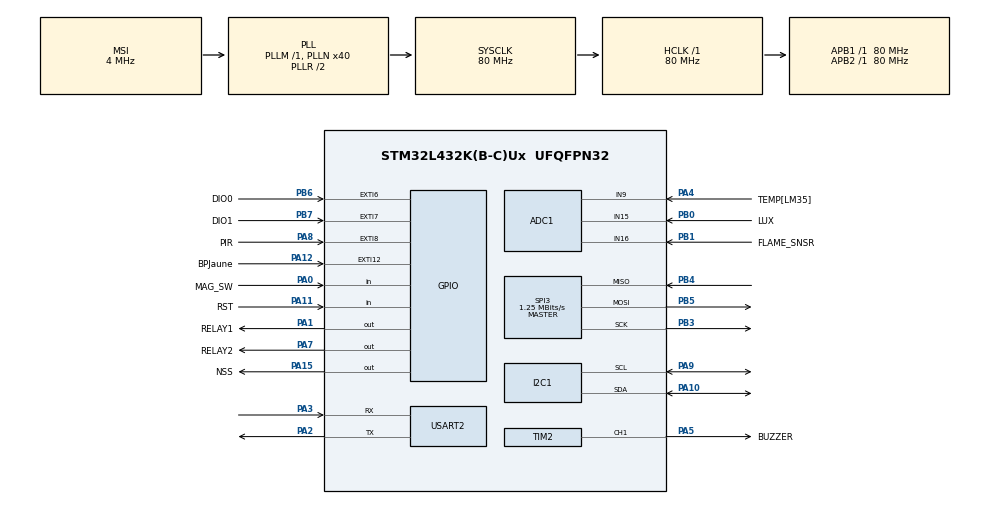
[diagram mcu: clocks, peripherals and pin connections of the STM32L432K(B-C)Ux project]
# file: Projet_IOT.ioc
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ADC1.Channel-1\#ChannelRegularConversion=ADC_CHANNEL_9
ADC1.Channel-2\#ChannelRegularConversion=ADC_CHANNEL_15
ADC1.Channel-3\#ChannelRegularConversion=ADC_CHANNEL_16
ADC1.ContinuousConvMode=ENABLE
ADC1.DMAContinuousRequests=ENABLE
ADC1.ExternalTrigConv=ADC_EXTERNALTRIG_T15_TRGO
ADC1.NbrOfConversion=3
ADC1.NbrOfConversionFlag=1
ADC1.OffsetNumber-1\#ChannelRegularConversion=ADC_OFFSET_NONE
ADC1.OffsetNumber-2\#ChannelRegularConversion=ADC_OFFSET_NONE
ADC1.OffsetNumber-3\#ChannelRegularConversion=ADC_OFFSET_NONE
ADC1.Rank-1\#ChannelRegularConversion=1
ADC1.Rank-2\#ChannelRegularConversion=2
ADC1.Rank-3\#ChannelRegularConversion=3
ADC1.SamplingTime-1\#ChannelRegularConversion=ADC_SAMPLETIME_640CYCLES_5
ADC1.SamplingTime-2\#ChannelRegularConversion=ADC_SAMPLETIME_640CYCLES_5
ADC1.SamplingTime-3\#ChannelRegularConversion=ADC_SAMPLETIME_640CYCLES_5
ADC1.master=1
Dma.ADC1.1.Direction=DMA_PERIPH_TO_MEMORY
Dma.ADC1.1.Instance=DMA1_Channel1
Dma.ADC1.1.MemDataAlignment=DMA_MDATAALIGN_HALFWORD
Dma.ADC1.1.MemInc=DMA_MINC_ENABLE
Dma.ADC1.1.Mode=DMA_CIRCULAR
Dma.ADC1.1.PeriphDataAlignment=DMA_PDATAALIGN_HALFWORD
Dma.ADC1.1.PeriphInc=DMA_PINC_DISABLE
Dma.ADC1.1.Priority=DMA_PRIORITY_LOW
Dma.Request0=TIM6_UP
Dma.Request1=ADC1
Dma.TIM6_UP.0.Direction=DMA_MEMORY_TO_PERIPH
Dma.TIM6_UP.0.Instance=DMA1_Channel3
Dma.TIM6_UP.0.MemDataAlignment=DMA_MDATAALIGN_WORD
Dma.TIM6_UP.0.MemInc=DMA_MINC_ENABLE
Dma.TIM6_UP.0.Mode=DMA_CIRCULAR
Dma.TIM6_UP.0.PeriphDataAlignment=DMA_PDATAALIGN_WORD
Dma.TIM6_UP.0.PeriphInc=DMA_PINC_DISABLE
Dma.TIM6_UP.0.Priority=DMA_PRIORITY_LOW
I2C1.Timing=0x10D19CE4
Mcu.Family=STM32L4
Mcu.Name=STM32L432K(B-C)Ux
Mcu.Package=UFQFPN32
NVIC.DMA1_Channel1_IRQn=true\:0\:0\:false\:false\:true\:false\:true\:true
NVIC.DMA1_Channel3_IRQn=true\:0\:0\:false\:false\:true\:false\:true\:true
NVIC.EXTI15_10_IRQn=true\:0\:0\:false\:false\:true\:true\:true\:true
NVIC.EXTI9_5_IRQn=true\:0\:0\:false\:false\:true\:true\:true\:true
NVIC.PriorityGroup=NVIC_PRIORITYGROUP_4
NVIC.TIM1_UP_TIM16_IRQn=true\:0\:0\:false\:false\:true\:true\:true\:true
PA0.GPIO_Label=MAG_SW
PA0.Signal=GPIO_Input
PA1.GPIO_Label=RELAY1
PA1.Signal=GPIO_Output
PA10.Mode=I2C
PA10.Signal=I2C1_SDA
PA11.GPIO_Label=RST
PA11.Signal=GPIO_Input
PA12.GPIO_Label=BPJaune
PA12.GPIO_ModeDefaultEXTI=GPIO_MODE_IT_RISING_FALLING
PA12.Signal=GPXTI12
PA13\ (JTMS-SWDIO).Mode=Serial_Wire
PA13\ (JTMS-SWDIO).Signal=SYS_JTMS-SWDIO
PA14\ (JTCK-SWCLK).Mode=Serial_Wire
PA14\ (JTCK-SWCLK).Signal=SYS_JTCK-SWCLK
PA15\ (JTDI).GPIO_Label=NSS
PA15\ (JTDI).PinState=GPIO_PIN_SET
PA15\ (JTDI).Signal=GPIO_Output
PA2.Mode=Asynchronous
PA2.Signal=USART2_TX
PA3.Mode=Asynchronous
PA3.Signal=USART2_RX
PA4.GPIO_Label=TEMP[LM35]
PA4.Signal=ADCx_IN9
PA5.GPIO_Label=BUZZER
PA5.Signal=S_TIM2_CH1
PA7.GPIO_Label=RELAY2
PA7.Signal=GPIO_Output
PA8.GPIO_Label=PIR
PA8.GPIO_ModeDefaultEXTI=GPIO_MODE_IT_RISING_FALLING
PA8.Signal=GPXTI8
PA9.Mode=I2C
PA9.Signal=I2C1_SCL
PB0.GPIO_Label=LUX
PB0.Signal=ADCx_IN15
PB1.GPIO_Label=FLAME_SNSR
PB1.Signal=ADCx_IN16
PB3\ (JTDO-TRACESWO).Mode=Full_Duplex_Master
PB3\ (JTDO-TRACESWO).Signal=SPI3_SCK
PB4\ (NJTRST).Mode=Full_Duplex_Master
PB4\ (NJTRST).Signal=SPI3_MISO
PB5.Mode=Full_Duplex_Master
PB5.Signal=SPI3_MOSI
PB6.GPIO_Label=DIO0
PB6.Signal=GPXTI6
PB7.GPIO_Label=DIO1
PB7.Signal=GPXTI7
PC14-OSC32_IN\ (PC14).Mode=LSE-External-Oscillator
PC14-OSC32_IN\ (PC14).Signal=RCC_OSC32_IN
PC15-OSC32_OUT\ (PC15).Mode=LSE-External-Oscillator
PC15-OSC32_OUT\ (PC15).Signal=RCC_OSC32_OUT
ProjectManager.HeapSize=0x200
ProjectManager.StackSize=0x400
ProjectManager.TargetToolchain=STM32CubeIDE
RCC.ADCFreq_Value=16000000
RCC.AHBFreq_Value=80000000
RCC.APB1Freq_Value=80000000
RCC.APB1TimFreq_Value=80000000
RCC.APB2Freq_Value=80000000
RCC.APB2TimFreq_Value=80000000
RCC.CortexFreq_Value=80000000
RCC.HCLKFreq_Value=80000000
RCC.HSE_VALUE=8000000
RCC.HSI48_VALUE=48000000
RCC.HSI_VALUE=16000000
RCC.MSI_VALUE=4000000
RCC.PLLN=40
RCC.PLLSAI1N=16
RCC.PLLSAI1R=RCC_PLLR_DIV4
RCC.SYSCLKFreq_VALUE=80000000
RCC.SYSCLKSource=RCC_SYSCLKSOURCE_PLLCLK
RCC.USBFreq_Value=32000000
RCC.VCOOutputFreq_Value=160000000
SH.ADCx_IN15.0=ADC1_IN15,IN15-Single-Ended
SH.ADCx_IN16.0=ADC1_IN16,IN16-Single-Ended
SH.ADCx_IN9.0=ADC1_IN9,IN9-Single-Ended
SH.S_TIM2_CH1.0=TIM2_CH1,Output Compare1 CH1
SPI3.BaudRatePrescaler=SPI_BAUDRATEPRESCALER_64
SPI3.CalculateBaudRate=1.25 MBits/s
SPI3.DataSize=SPI_DATASIZE_8BIT
SPI3.Direction=SPI_DIRECTION_2LINES
SPI3.Mode=SPI_MODE_MASTER
SPI3.VirtualType=VM_MASTER
TIM15.Period=999
TIM15.Prescaler=79
TIM15.TIM_MasterOutputTrigger=TIM_TRGO_UPDATE
TIM16.Prescaler=2499
TIM2.AutoReloadPreload=TIM_AUTORELOAD_PRELOAD_ENABLE
TIM2.Channel-Output\ Compare1\ CH1=TIM_CHANNEL_1
TIM2.OCMode_1=TIM_OCMODE_TOGGLE
TIM2.Period=999
TIM2.Prescaler=79
TIM2.TIM_MasterOutputTrigger=TIM_TRGO_RESET
TIM6.Period=1499
TIM6.Prescaler=79
USART2.VirtualMode-Asynchronous=VM_ASYNC
VP_TIM15_VS_ClockSourceINT.Mode=Internal
VP_TIM16_VS_ClockSourceINT.Mode=Enable_Timer
VP_TIM2_VS_ClockSourceINT.Mode=Internal
VP_TIM6_VS_ClockSourceINT.Mode=Enable_Timer
board=custom

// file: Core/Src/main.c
/* USER CODE BEGIN Header */
/**
 ******************************************************************************
 * @file           : main.c
 * @brief          : Main program body
 ******************************************************************************
 * @attention
 *
 * Copyright (c) 2026 STMicroelectronics.
 * All rights reserved.
 *
 * This software is licensed under terms that can be found in the LICENSE file
 * in the root directory of this software component.
 * If no LICENSE file comes with this software, it is provided AS-IS.
 *
 ******************************************************************************
 */
/* USER CODE END Header */
#include "main.h"
#include "adc.h"
#include "dma.h"
#include "i2c.h"
#include "spi.h"
#include "tim.h"
#include "usart.h"
#include "gpio.h"

/* USER CODE BEGIN Includes */
#include "lmic.h"
#include "hal.h"
#include "debug.h"
#include "math.h"
#include "cayenne_lpp.h"
#include "RGBLCD1602.h"

/* USER CODE END Includes */

/* USER CODE BEGIN PTD */
typedef struct {
	uint8_t red;
	uint8_t green;
	uint8_t blue;
} Color;

typedef enum {
	PAGE_1 = 0,
	PAGE_2,
	PAGE_3,
	PAGE_4,
	PAGE_5,
	PAGE_6,
	PAGE_7,
	PAGE_8,
	PAGE_9,
	PAGE_ERROR,
	PAGE_CLEARED
} page_t;

typedef enum {
	AUTO,
	OVERRIDE_ON,
	OVERRIDE_OFF
} rly_mode_t;
/* USER CODE END PTD */

/* USER CODE BEGIN PD */
#define VREF_MV   3300.0f
#define ADC_MAX   4095.0f

/* ---------- DFR0026 (PT550), émetteur suiveur : Vout = Iph * 470 ---------- */
#define DFR0026_R_LOAD_OHM   470.0f
#define PT550_UA_PER_LUX     0.90f       /* à recaler avec un luxmètre */
#define DFR0026_MV_PER_LUX   (DFR0026_R_LOAD_OHM * PT550_UA_PER_LUX / 1000.0f)

#define WAKE_UP_TIME 10

#define LIGHT_HOLD_TIME 30

#define ONE_Hz    1000
#define TWO_Hz    500
#define THREE_Hz  333
#define FOUR_Hz   250
#define FIVE_Hz   200
#define SIX_Hz    167
#define SEVEN_Hz  143
#define EIGHT_Hz  125
#define NINE_Hz   111
#define TEN_Hz    100
#define FIFTEEN_Hz      67
#define TWENTY_Hz       50
#define TWENTY_FIVE_Hz  40
#define THIRTY_Hz       33
#define THIRTY_FIVE_Hz  29
#define FORTY_Hz        25
#define FORTY_FIVE_Hz   22
#define FIFTY_Hz        20

#define BIP_HZ      2500
#define BIP_ON_MS   40
#define BIP_OFF_MS  50

#define SCREEN_CURSOR_ZERO 0
#define SCREEN_UP 0
#define SCREEN_DOWN 1

#define NORMAL_BUF 0
#define ERROR_BUF_UP 1
#define ERROR_BUF_DOWN 2

#define ON 1
#define OFF 0

#define MAX_TEMP_THR 45.0f
#define FAN_THR_ON 30
#define FAN_THR_OFF 28

#define FLAME_TH_ON      1400
#define FLAME_TH_OFF     1000
#define FLAME_CONFIRM_N  3

#define LM35_MV_PER_DEG 10.0f

#define SEUIL_LUMI 1000

#define ADC_BUF_SIZE 300

/* USER CODE END PD */

/* USER CODE BEGIN PV */

static const u1_t APPEUI[8] = { 0x00, 0x00, 0x00, 0x00, 0x00, 0x00, 0x00, 0x00 };// application router ID (LSBF)
static const u1_t DEVEUI[8] = { 0x4C, 0x8F, 0x07, 0xD0, 0x7E, 0xD5, 0xB3, 0x70 };// unique device ID (LSBF)
static const u1_t DEVKEY[16] = { 0xA1, 0x99, 0x31, 0x2B, 0xF2, 0xD4, 0x43, 0x61,
		0x56, 0x08, 0xBC, 0x1F, 0x51, 0x1B, 0xEA, 0x2F };// device-specific AES key (MSBF)
static const char *rly_mode_str[] = { "AUTO", "OVR ON", "OVR OFF" };

static osjob_t blinkjob;
static osjob_t backlightjob;
static osjob_t lightjob;
static osjob_t reportjob;
static osjob_t uptimejob;
static osjob_t twobipjob;
static osjob_t bipjob;

osjob_t initjob;
osjob_t shortpressjob;
osjob_t longpressjob;
osjob_t pir_on_job;
osjob_t pir_off_job;
osjob_t periodic_job;

volatile uint8_t eveil = 1;
volatile uint32_t t_since_press = 0;
volatile uint32_t sweep[512];
volatile uint16_t adc_buf[ADC_BUF_SIZE];
volatile page_t pagestate = 0;

static uint8_t bip_step;
static uint32_t blink_rgb;
static uint32_t blink_ms;
static uint8_t  ledstate = 0;
static uint8_t  error = 0;
static uint8_t relay1_state = 0;
static uint8_t relay2_state = 0;
static rly_mode_t relay1_mode = 0;
static rly_mode_t relay2_mode = 0;
static cayenne_lpp_t lpp;   // statique : buffer de 51 octets, pas sur la pile

char lcd_text[20];
char lcd_error_text_up[20];
char lcd_error_text_down[20];

volatile float sensor_temp = 0;
volatile uint16_t sensor_lux = 0;
volatile uint8_t flame_detected = 0;
volatile uint8_t flame_cnt = 0;
volatile u2_t flame_raw = 0;

uint16_t m_sw = 0;
uint16_t pir_state = 0;
uint16_t error_cnt = 0;
uint16_t temp_high_error = 0;
uint16_t effraction_error = 0;
uint16_t incendie_error = 0;

RGBLCD1602_t Ecran_I2C; //creation de l'objet

/* USER CODE END PV */

void SystemClock_Config(void);
/* USER CODE BEGIN PFP */
/* USER CODE BEGIN PFP */
static const char *timesinceboot(void);
static void backlight_cmd(uint32_t rgb, uint8_t cmd);
static void draw_lcd(uint8_t cursor_y, uint8_t buf_selector);
static void clear_error(void);
static void change_page(void);
static void check_for_error(void);
static void relay1_cmd(uint8_t cmd);
static void relay2_cmd(uint8_t cmd);
static void relay_mode_selector(void);
static void flame_update(u2_t raw);
static void blinkfunc(osjob_t *j);
static void uptimefunc(osjob_t *j);
static void periodic_func(osjob_t *j);

void buzz_start(void);
void buzz_stop(void);
void blink_start(uint32_t rgb, uint32_t period_ms);
void blink_stop(void);
void alarm_start(uint32_t rgb, uint32_t blink_period_ms, const char *alarm_msg);
void alarm_stop(void);
void lcd_manager(uint8_t page);

float LM35_GetTemperature(u2_t adc);

uint16_t dfr0026_adc_to_lux(u2_t adc) ;
/* USER CODE END PFP */

/* USER CODE BEGIN 0 */

void HAL_ADC_ConvCpltCallback(ADC_HandleTypeDef *hadc) {

	if (hadc == &hadc1) {

		u2_t temp_val;
		u2_t lux_val;
		u2_t flame_val;
		uint32_t holder = 0;
		uint32_t l;

		// Temperature
		for(l = 0; l < 298; l += 3){
			holder += adc_buf[l];
		}
		temp_val = holder/100;
		sensor_temp = LM35_GetTemperature (temp_val);

		// Luminosite
		holder = 0;
		for(l = 1; l < 299; l += 3){
			holder += adc_buf[l];
		}
		lux_val = holder/100;
		sensor_lux = dfr0026_adc_to_lux(lux_val);

		// Flame
		holder = 0;
		for(l = 2; l < 300; l += 3){
			holder += adc_buf[l];
		}
		flame_val = holder/100;
		flame_raw = flame_val;
		flame_update(flame_val);
	}

}

float lm94021_adc_to_tempC(u2_t adc) {
    // 1) code ADC -> tension en mV
    float v = (float)adc * VREF_MV / ADC_MAX;

    // 2) inversion de la parabole : 0.00176*x^2 + 5.506*x + (V - 870.6) = 0
    const float a = 0.00176f;
    const float b = 5.506f;
    float c = v - 870.6f;

    float disc = b*b - 4.0f*a*c;
    if (disc < 0.0f) disc = 0.0f;        // garde-fou

    float x = (-b + sqrtf(disc)) / (2.0f * a);

    return x + 30.0f;                    // T = x + 30
}

float LM35_GetTemperature(u2_t adc)
{
    float v_mv = (float)adc * VREF_MV / ADC_MAX;
    return v_mv / LM35_MV_PER_DEG;
}

static void flame_update(u2_t raw) {
    u2_t th = flame_detected ? FLAME_TH_OFF : FLAME_TH_ON;
    uint8_t cond = flame_detected ? (raw < th) : (raw > th);

    if (cond) {
        if (++flame_cnt >= FLAME_CONFIRM_N) {
            flame_detected = !flame_detected;
            flame_cnt = 0;
        }
    } else {
        flame_cnt = 0;
    }
}

uint16_t dfr0026_adc_to_lux(u2_t adc) {
    float v_mv = (float)adc * VREF_MV / ADC_MAX;
    float lux  = v_mv / DFR0026_MV_PER_LUX;
    if (lux > 65535.0f) lux = 65535.0f;
    return (uint16_t)(lux + 0.5f);
}

void RGBLCD1602_ECRAN_start_com(RGBLCD1602_t *lcd, u1_t datarate, u4_t freq)
{
	char ligne[20];

	DFRobot_RGBLCD1602_clear(lcd);

	DFRobot_RGBLCD1602_setCursor(lcd, 0, 0);
	DFRobot_RGBLCD1602_print(lcd, "Connexion LoRa...");

	/* ex : "SF7   868.1 MHz" */
	snprintf(ligne, sizeof ligne, "SF%-2u-> %lu.%lu MHz", (unsigned)(12 - datarate), (unsigned long)(freq / 1000000),(unsigned long)((freq / 100000) % 10));
	DFRobot_RGBLCD1602_setCursor(lcd, 0, 1);
	DFRobot_RGBLCD1602_print(lcd, ligne);
}

void set_tone_frequency(uint32_t freq1_hz, uint32_t freq2_hz) {
    if (freq1_hz == 0 || freq2_hz == 0) {
    	HAL_TIM_OC_Stop(&htim2, TIM_CHANNEL_1); // Silence
        return;
    }
     uint32_t arr;
     uint32_t sweep_size = freq2_hz - freq1_hz;

    // Calcul de la période : 1 000 000 / freq - 1

    for(uint32_t i = freq1_hz; i < freq2_hz; i++) {

        arr = (1000000 / (2*i)) - 1;

    	sweep[i-freq1_hz] = arr;
    }

    // Mise à jour des registres
	HAL_TIM_OC_Start(&htim2, TIM_CHANNEL_1);
	HAL_TIM_Base_Start(&htim6); // 500hz
	HAL_DMA_Start(htim6.hdma[TIM_DMA_ID_UPDATE], (uint32_t)sweep, (uint32_t)&TIM2->ARR, sweep_size);
	__HAL_TIM_ENABLE_DMA(&htim6, TIM_DMA_UPDATE);
}

static void tone_fixed(uint32_t hz) {
	if (hz == 0) { HAL_TIM_OC_Stop(&htim2, TIM_CHANNEL_1); return; }
	__HAL_TIM_SET_AUTORELOAD(&htim2, 1000000UL / (2 * hz) - 1);
	__HAL_TIM_SET_COUNTER(&htim2, 0);
	HAL_TIM_OC_Start(&htim2, TIM_CHANNEL_1);
}

static void twobipfunc(osjob_t *j) {
	uint8_t on = !(bip_step & 1);
	tone_fixed(on ? BIP_HZ : 0);
	if (++bip_step < 4)
		os_setTimedCallback(&twobipjob, os_getTime() + ms2osticks(on ? BIP_ON_MS : BIP_OFF_MS), twobipfunc);
}

void bip_bip(void) {
	buzz_stop();
	bip_step = 0;
	twobipfunc(&bipjob);
}

static void bipfunc(osjob_t *j) {
	uint8_t on = !(bip_step & 1);
	tone_fixed(on ? BIP_HZ : 0);
	if (++bip_step < 2)
		os_setTimedCallback(&bipjob, os_getTime() + ms2osticks(on ? BIP_ON_MS : BIP_OFF_MS), bipfunc);
}

void bip(void) {
	buzz_stop();
	bip_step = 0;
	bipfunc(&bipjob);
}

// provide application router ID (8 bytes, LSBF)
void os_getArtEui(u1_t *buf) {
	memcpy(buf, APPEUI, 8);
}
// provide device ID (8 bytes, LSBF)
void os_getDevEui(u1_t *buf) {
	memcpy(buf, DEVEUI, 8);
}
// provide device key (16 bytes)
void os_getDevKey(u1_t *buf) {
	memcpy(buf, DEVKEY, 16);
}

static void uptimefunc(osjob_t *j) {
	lcd_manager(pagestate);
	os_setTimedCallback(&uptimejob, os_getTime() + sec2osticks(1), uptimefunc);
}

void alarm_start(uint32_t rgb, uint32_t blink_period_ms, const char *alarm_msg) {
	error = 1;

	blink_rgb = rgb;
	blink_ms  = blink_period_ms;
	ledstate  = 0;

	if (alarm_msg != NULL) {
			strncpy(lcd_error_text_down, alarm_msg, sizeof(lcd_error_text_down) - 1);
			lcd_error_text_down[sizeof(lcd_error_text_down) - 1] = '\0';
		} else {
			//Fall back si alarm_msg = NULL
			snprintf(lcd_error_text_down, sizeof(lcd_error_text_down), "  ALARM ACTIVE");
		}

	lcd_manager(PAGE_ERROR);
	blink_start(rgb, blink_period_ms);
	buzz_start();
}

void buzz_start(void) {
	set_tone_frequency(1800, 2100);
}

void buzz_stop(void) {
	__HAL_TIM_DISABLE_DMA(&htim6, TIM_DMA_UPDATE);
	HAL_DMA_Abort(htim6.hdma[TIM_DMA_ID_UPDATE]);
	HAL_TIM_Base_Stop(&htim6);
	HAL_TIM_OC_Stop(&htim2, TIM_CHANNEL_1);
	set_tone_frequency(0, 0);
}

void alarm_stop(void) {
	error = 0;
	blink_stop();
	buzz_stop();
}

static void blinkfunc(osjob_t *j) {
	ledstate = !ledstate;
	backlight_cmd(blink_rgb, ledstate);
	os_setTimedCallback(j, os_getTime() + ms2osticks(blink_ms), blinkfunc);
}

void blink_start(uint32_t rgb, uint32_t period_ms) {
	blink_rgb = rgb;
	blink_ms  = period_ms;
	ledstate  = 0;
	blinkfunc(&blinkjob);
}

void blink_stop(void) {
	os_clearCallback(&blinkjob);
}

void initfunc(osjob_t *j) {
	// reset MAC state
	LMIC_reset();
	// start joining
	LMIC_startJoining();

	LMIC_setDrTxpow(DR_SF7, 20);
}

u1_t  readsensor_mag_sw() {
	u1_t mag_sw_val = HAL_GPIO_ReadPin(MAG_SW_GPIO_Port, MAG_SW_Pin);
	return mag_sw_val;
}

static void periodic_func(osjob_t *j){
	check_for_error();
	relay_mode_selector();

	// read sensor magnetic sw
	u1_t mag_sw_state = readsensor_mag_sw();
	m_sw = mag_sw_state;

	os_setTimedCallback(&periodic_job, os_getTime() + ms2osticks(500), periodic_func);
}

static void lightoff(osjob_t *j) {
	relay2_state = 0;
	relay2_cmd(relay2_state);
}

static void light_wake(void) {
	relay2_state = 1;
	relay2_cmd(relay2_state);
	os_setTimedCallback(&lightjob, os_getTime() + sec2osticks(LIGHT_HOLD_TIME), lightoff);
}

static void backlightoff(osjob_t *j) {
	RGBLCD1602_setColor(&Ecran_I2C, LCD_COLOR_OFF);
	eveil = 0;
}

static void backlight_wake(uint32_t rgb) {
	eveil = 1;
	RGBLCD1602_setColor(&Ecran_I2C, rgb);
	os_setTimedCallback(&backlightjob, os_getTime() + sec2osticks(WAKE_UP_TIME), backlightoff);
}

static void backlight_cmd(uint32_t rgb, uint8_t cmd) {
	if (cmd) {
		RGBLCD1602_setColor(&Ecran_I2C, rgb);
	} else {
		RGBLCD1602_setColor(&Ecran_I2C, LCD_COLOR_OFF);
	}
}

static void draw_lcd(uint8_t cursor_y, uint8_t buf_selector) {
    char line_buf[17]; // 16 caractères + '\0'

    // %-16.16s : tronque à 16 max et complète avec des espaces si plus court
    if        (buf_selector == 1) {
    	snprintf(line_buf, sizeof(line_buf), "%-16.16s", lcd_error_text_up);
    } else if (buf_selector == 2) {
    	snprintf(line_buf, sizeof(line_buf), "%-16.16s", lcd_error_text_down);
    } else {
    	snprintf(line_buf, sizeof(line_buf), "%-16.16s", lcd_text);
    }

    DFRobot_RGBLCD1602_setCursor(&Ecran_I2C, SCREEN_CURSOR_ZERO, cursor_y);
    DFRobot_RGBLCD1602_print(&Ecran_I2C, line_buf);
}

void lcd_manager(uint8_t page) {

	if (error) {
		page = PAGE_ERROR;
	}

	switch (page) {
	case PAGE_1:
		// Ligne 0 : Titre
		snprintf(lcd_text, sizeof(lcd_text), "     DATA 1  ");
		draw_lcd(SCREEN_UP,NORMAL_BUF);

		// Ligne 1 : Valeur
		snprintf(lcd_text, sizeof(lcd_text), "TEMP : %0.1f Deg", sensor_temp);
		draw_lcd(SCREEN_DOWN,NORMAL_BUF);
		break;
	case PAGE_2 :
		// TOP
		snprintf(lcd_text, sizeof(lcd_text), "     DATA 2  ");
		draw_lcd(SCREEN_UP,NORMAL_BUF);
		// BOTTOM
		snprintf(lcd_text, sizeof(lcd_text), "LUM  : %u lux", sensor_lux);
		draw_lcd(SCREEN_DOWN,NORMAL_BUF);
		break;
	case PAGE_3 :
		// TOP
		snprintf(lcd_text, sizeof(lcd_text), "     DATA 3  ");
		draw_lcd(SCREEN_UP,NORMAL_BUF);
		// BOTTOM
		snprintf(lcd_text, sizeof(lcd_text), "FEUX : %s", flame_detected ? "DANGER" : "AUCUN");
		draw_lcd(SCREEN_DOWN,NORMAL_BUF);
		break;
	case PAGE_4 :
		// TOP
		snprintf(lcd_text, sizeof(lcd_text), "     DATA 4  ");
		draw_lcd(SCREEN_UP,NORMAL_BUF);
		// BOTTOM
		snprintf(lcd_text, sizeof(lcd_text), "PORTE : %s", m_sw ? "FERMEE" : "OUVERTE");
		draw_lcd(SCREEN_DOWN,NORMAL_BUF);
		break;
	case PAGE_5 :
		// TOP
		snprintf(lcd_text, sizeof(lcd_text), "     DATA 5  ");
		draw_lcd(SCREEN_UP,NORMAL_BUF);
		// BOTTOM
		snprintf(lcd_text, sizeof(lcd_text), "MOUVEMENT : %s", pir_state ? "OUI" : "NON");
		draw_lcd(SCREEN_DOWN,NORMAL_BUF);
		break;
	case PAGE_6 :
		// TOP
		snprintf(lcd_text, sizeof(lcd_text), "     DATA 6  ");
		draw_lcd(SCREEN_UP,NORMAL_BUF);
		// BOTTOM
		snprintf(lcd_text, sizeof(lcd_text), "RELAIS 1:%s", rly_mode_str[relay1_mode]);
		draw_lcd(SCREEN_DOWN,NORMAL_BUF);
		break;
	case PAGE_7 :
		// TOP
		snprintf(lcd_text, sizeof(lcd_text), "     DATA 7  ");
		draw_lcd(SCREEN_UP,NORMAL_BUF);
		// BOTTOM
		snprintf(lcd_text, sizeof(lcd_text), "RELAIS 2:%s", rly_mode_str[relay2_mode]);
		draw_lcd(SCREEN_DOWN,NORMAL_BUF);
		break;
	case PAGE_8 :
		// TOP
		snprintf(lcd_text, sizeof(lcd_text), "     DATA 8  ");
		draw_lcd(SCREEN_UP,NORMAL_BUF);
		// BOTTOM
		snprintf(lcd_text, sizeof lcd_text, "SF%-2u-> %lu.%lu MHz", (unsigned)(12 - LMIC.datarate), (unsigned long)(LMIC.freq / 1000000),(unsigned long)((LMIC.freq / 100000) % 10));
		draw_lcd(SCREEN_DOWN,NORMAL_BUF);
		break;
	case PAGE_9 :
		// TOP
		snprintf(lcd_text, sizeof(lcd_text), "     DATA 9  ");
		draw_lcd(SCREEN_UP,NORMAL_BUF);
		// BOTTOM
		snprintf(lcd_text, sizeof(lcd_text), "UP-TIME %s", timesinceboot());
		draw_lcd(SCREEN_DOWN,NORMAL_BUF);
		break;
	case PAGE_ERROR :
		// TOP
		snprintf(lcd_error_text_up, sizeof(lcd_error_text_up), "   ERREUR : %02d", error_cnt);
		draw_lcd(SCREEN_UP,ERROR_BUF_UP);
		// BOTTOM
		//snprintf(lcd_error_text_down, sizeof(lcd_error_text_down), "     AUCUNE");
		draw_lcd(SCREEN_DOWN,ERROR_BUF_DOWN);
		break;
	case PAGE_CLEARED :
		// TOP
		snprintf(lcd_text, sizeof(lcd_text), " ERREUR CLEARED ");
		draw_lcd(SCREEN_UP,NORMAL_BUF);
		// BOTTOM
		snprintf(lcd_text, sizeof(lcd_text), " ");
		draw_lcd(SCREEN_DOWN,NORMAL_BUF);
		os_setTimedCallback(&uptimejob, os_getTime() + sec2osticks(2), uptimefunc);
		break;
	}

}

void shortpressfunc(osjob_t *j) {   /* appui bouton court, appelé via os_setCallback */
	if (error) {
		pagestate = PAGE_ERROR;
		alarm_stop();
	}
	change_page();
	backlight_wake(LCD_COLOR_WHITE);
	lcd_manager(pagestate);
	debug_time();
	debug_str("Change page cmd\r\n");
	bip();
}

void longpressfunc(osjob_t *j) {   /* appui bouton long, appelé via os_setCallback seulement */
	//alarm_start(LCD_COLOR_RED, FIVE_Hz, FIVE_Hz, "    TEST MODE");
	backlight_wake(LCD_COLOR_WHITE);
	switch(pagestate) {
	case PAGE_1 : break;
	case PAGE_2 : break;
	case PAGE_3 : break;
	case PAGE_4 : break;
	case PAGE_5 : break;
	case PAGE_6 :
		relay1_mode = (rly_mode_t)((relay1_mode + 1) % 3);
		relay_mode_selector();
		lcd_manager(pagestate);
		bip_bip();
		break;
	case PAGE_7 :
		relay2_mode = (rly_mode_t)((relay2_mode + 1) % 3);
		relay_mode_selector();
		lcd_manager(pagestate);
		bip_bip();
		break;
	case PAGE_8 : break;
	case PAGE_9 : break;
	case PAGE_ERROR :
		clear_error();
		backlight_wake(LCD_COLOR_WHITE);
		break;
	default : break;

	}

	debug_time();
	debug_str("long press cmd\r\n");
}

void pir_on_func(osjob_t *j) {   /* declanchement on pir, appelé via os_setCallback seulement */
	pir_state = 1;
	debug_time();
	debug_str("PIR on cmd\r\n");
}

void pir_off_func(osjob_t *j) {   /* declanchement off pir, appelé via os_setCallback seulement */
	pir_state = 0;
	debug_time();
	debug_str("PIR off cmd\r\n");
}

static void clear_error(void) {
	incendie_error = 0;
	effraction_error = 0;
	temp_high_error = 0;
	error_cnt = 0;
	flame_detected = 0;
	snprintf(lcd_error_text_down, sizeof(lcd_error_text_down), " ");
	alarm_stop();
	bip_bip();
	os_clearCallback(&uptimejob);
	lcd_manager(PAGE_CLEARED);
}

static void change_page(void) {
	if (eveil) {

		pagestate ++;

		if (pagestate > PAGE_ERROR) {
			pagestate = 0;
		}
	}
}

static void relay1_cmd(uint8_t cmd) {
	HAL_GPIO_WritePin(RELAY1_GPIO_Port, RELAY1_Pin, cmd);
}

static void relay2_cmd(uint8_t cmd) {
	HAL_GPIO_WritePin(RELAY2_GPIO_Port, RELAY2_Pin, cmd);
}

static void check_for_error(void) {
	if (sensor_temp > MAX_TEMP_THR) {
		temp_high_error = 1;
		error_cnt ++;
		if (!error) alarm_start(LCD_COLOR_RED, FIVE_Hz, "     TEMP HIGH");
	}

	if (m_sw && !relay2_state && sensor_lux > SEUIL_LUMI) {
		effraction_error = 1;
		error_cnt ++;
		if (!error) alarm_start(LCD_COLOR_RED, FIVE_Hz, "EFFRACTION DETEC");
	}

	if (flame_detected){
		incendie_error = 1;
		error_cnt ++;
		if (!error) alarm_start(LCD_COLOR_RED, FIVE_Hz, "    INCENDIE");
	}
}

static void relay1_automation(void){
	//declanchement ventilation
	if (sensor_temp > FAN_THR_ON) {
		relay1_state = ON;
		relay1_cmd(relay1_state);
	} else if(sensor_temp <= FAN_THR_OFF){
		relay1_state = OFF;
		relay1_cmd(relay1_state);
	}
}

static void relay2_automation(void){
	//declanchement lumiere
	if (pir_state && sensor_lux < SEUIL_LUMI && !m_sw) { //allume que si lumiere dans le local insuffisant.
		light_wake();
	}
}

static void relay_mode_selector(void) {
	if (relay1_mode == AUTO) {
		relay1_automation();
	} else if (relay1_mode == OVERRIDE_ON) {
		relay1_state = ON;
		relay1_cmd(relay1_state);
	} else if (relay1_mode == OVERRIDE_OFF) {
		relay1_state = OFF;
		relay1_cmd(relay1_state);
	}

	if (relay2_mode == AUTO) {
		relay2_automation();
	} else if (relay2_mode == OVERRIDE_ON) {
		os_clearCallback(&lightjob);
		relay2_state = ON;
		relay2_cmd(relay2_state);
	} else if (relay2_mode == OVERRIDE_OFF) {
		os_clearCallback(&lightjob);
		relay2_state = OFF;
		relay2_cmd(relay2_state);
	}
}

static const char *timesinceboot(void) {
	static char buf[12];                       /* "hhh:mm:ss" + '\0' */
	u4_t total_sec = osticks2ms(os_getTime()) / 1000;
	u4_t h = total_sec / 3600;
	u4_t m = (total_sec / 60) % 60;
	u4_t s = total_sec % 60;

	snprintf(buf, sizeof(buf), "%02lu:%02lu:%02lu",(unsigned long)h, (unsigned long)m, (unsigned long)s);
	return buf;
}

// report sensor value every 5sec
static void reportfunc(osjob_t *j) {
	// read sensor temp
	debug_time();
	debug_valfloat("Onboard sensor temp -> ", sensor_temp, 4);
	debug_str(" °C\r\n");

	// read sensor lux
	debug_time();
	debug_valdec("Onboard sensor lux -> ", sensor_lux);
	debug_str(" lux \r\n");

	// read sensor flame
	debug_time();
	debug_valdec("Onboard sensor flame raw -> ", flame_raw);
	debug_str("\r\n");
	debug_time();
	debug_valdec("Onboard sensor flame -> ", flame_detected);
	debug_str("\r\n");

	// read sensor magnetic sw
	debug_time();
	debug_valdec("Onboard sensor mag sw -> ", m_sw);
	debug_str("\r\n");

	// encodage Cayenne LPP
	cayenne_lpp_reset(&lpp);
	cayenne_lpp_add_temperature(&lpp, 1, sensor_temp);         // canal 1 : 0.1 °C
	cayenne_lpp_add_luminosity(&lpp, 2, sensor_lux);		   // canal 2 : lux
	cayenne_lpp_add_digital_input(&lpp, 3, flame_detected ? 1 : 0); // canal 3 : flame
	cayenne_lpp_add_digital_input(&lpp, 4, m_sw);			   // canal 4 : etat porte
	cayenne_lpp_add_presence(&lpp, 5, pir_state);			   // canal 5 : detecteur presence
	cayenne_lpp_add_digital_output(&lpp, 6, relay1_mode);      // canal 6 : etat relais 1
	cayenne_lpp_add_digital_output(&lpp, 7, relay2_mode);      // canal 7 : etat relais 2
	cayenne_lpp_add_digital_output(&lpp, 8, error_cnt);        // canal erreur : nb erreur
	cayenne_lpp_add_digital_output(&lpp, 9, incendie_error);   // canal erreur : incendie
	cayenne_lpp_add_digital_output(&lpp, 10, effraction_error);// canal erreur : effraction
	cayenne_lpp_add_digital_output(&lpp, 11, temp_high_error); // canal erreur : over temp of the local technique
	// prepare and schedule data for transmission
	LMIC_setTxData2(1, lpp.buffer, lpp.cursor, 0);             // port 1, 8 octets, unconfirmed
}

//////////////////////////////////////////////////
// LMIC EVENT CALLBACK
//////////////////////////////////////////////////
void onEvent(ev_t ev) {
	debug_event(ev);   // source unique du nom de l'event
	switch (ev) {
	case EV_JOINING:
		blink_start(LCD_COLOR_BLUE, ONE_Hz);
		break;
	case EV_JOINED:
		t_since_press = ( osticks2ms(os_getTime()) / 1000 );
		// kick-off periodic sensor job
		blink_stop();
		LMIC_setAdrMode(0);
		LMIC_setLinkCheckMode(0);
		backlight_wake(LCD_COLOR_WHITE);
		lcd_manager(pagestate);
		reportfunc(&reportjob);
		periodic_func(&periodic_job);
		uptimefunc(&uptimejob);
		break;
	case EV_TXCOMPLETE:
		if (LMIC.txrxFlags & TXRX_ACK)
			debug_str("  -> received ack\r\n");
		if (LMIC.dataLen) {
			debug_time();
		    debug_val("Payload RX ->  ", LMIC.dataLen); //nombre de bits reçu
		    debug_val(", Port : ", LMIC.frame[LMIC.dataBeg - 1]);
		    debug_str(", Data : ");
		    debug_buf(LMIC.frame + LMIC.dataBeg, LMIC.dataLen);
		    debug_char('\n');
		}
		os_setTimedCallback(&reportjob, os_getTime() + ms2osticks(1000), reportfunc);
		break;
	case EV_JOIN_FAILED:
	case EV_SCAN_TIMEOUT:
	case EV_BEACON_FOUND:
	case EV_BEACON_MISSED:
	case EV_BEACON_TRACKED:
	case EV_RFU1:
	case EV_REJOIN_FAILED:
	case EV_LOST_TSYNC:
	case EV_RESET:
	case EV_RXCOMPLETE:
	case EV_LINK_DEAD:
	case EV_LINK_ALIVE:
	case EV_TXSTART:
		if (LMIC.opmode & OP_JOINING)
			RGBLCD1602_ECRAN_start_com(&Ecran_I2C, LMIC.datarate, LMIC.freq);
		break;
	default:
		break;
	}
}

/* USER CODE END 0 */

int main(void)
{

  /* MCU Configuration--------------------------------------------------------*/

  /* Reset of all peripherals, Initializes the Flash interface and the Systick. */
  HAL_Init();

  /* Configure the system clock */
  SystemClock_Config();

  /* Initialize all configured peripherals */
  MX_GPIO_Init();
  MX_DMA_Init();
  MX_SPI3_Init();
  MX_ADC1_Init();
  MX_TIM16_Init();
  MX_I2C1_Init();
  MX_USART2_UART_Init();
  MX_TIM2_Init();
  MX_TIM6_Init();
  MX_TIM15_Init();
  /* USER CODE BEGIN 2 */
	HAL_ADCEx_Calibration_Start(&hadc1, ADC_SINGLE_ENDED);

	HAL_TIM_Base_Start_IT(&htim16);   // <----------- change to your setup

	__HAL_SPI_ENABLE(&hspi3);        // <----------- change to your setup

	HAL_ADC_Start_DMA(&hadc1, (uint32_t*)adc_buf, ADC_BUF_SIZE);

	HAL_TIM_Base_Start(&htim15);

	// initialize runtime env
	os_init();
	// initialize debug library
	debug_init();

	RGBLCD1602_ECRAN_I2C_Init(&Ecran_I2C,&hi2c1,LCD_COLOR_OFF);

	os_setCallback(&initjob, initfunc);
	// execute scheduled jobs and events
	os_runloop();
	// (not reached)
	return 0;

  /* USER CODE END 2 */

  /* Infinite loop */
	while (1) {

	}
}

void SystemClock_Config(void)
{
  RCC_OscInitTypeDef RCC_OscInitStruct = {0};
  RCC_ClkInitTypeDef RCC_ClkInitStruct = {0};

  /** Configure the main internal regulator output voltage
  */
  if (HAL_PWREx_ControlVoltageScaling(PWR_REGULATOR_VOLTAGE_SCALE1) != HAL_OK)
  {
    Error_Handler();
  }

  /** Configure LSE Drive Capability
  */
  HAL_PWR_EnableBkUpAccess();
  __HAL_RCC_LSEDRIVE_CONFIG(RCC_LSEDRIVE_LOW);

  /** Initializes the RCC Oscillators according to the specified parameters
  * in the RCC_OscInitTypeDef structure.
  */
  RCC_OscInitStruct.OscillatorType = RCC_OSCILLATORTYPE_LSE|RCC_OSCILLATORTYPE_MSI;
  RCC_OscInitStruct.LSEState = RCC_LSE_ON;
  RCC_OscInitStruct.MSIState = RCC_MSI_ON;
  RCC_OscInitStruct.MSICalibrationValue = 0;
  RCC_OscInitStruct.MSIClockRange = RCC_MSIRANGE_6;
  RCC_OscInitStruct.PLL.PLLState = RCC_PLL_ON;
  RCC_OscInitStruct.PLL.PLLSource = RCC_PLLSOURCE_MSI;
  RCC_OscInitStruct.PLL.PLLM = 1;
  RCC_OscInitStruct.PLL.PLLN = 40;
  RCC_OscInitStruct.PLL.PLLP = RCC_PLLP_DIV7;
  RCC_OscInitStruct.PLL.PLLQ = RCC_PLLQ_DIV2;
  RCC_OscInitStruct.PLL.PLLR = RCC_PLLR_DIV2;
  if (HAL_RCC_OscConfig(&RCC_OscInitStruct) != HAL_OK)
  {
    Error_Handler();
  }

  /** Initializes the CPU, AHB and APB buses clocks
  */
  RCC_ClkInitStruct.ClockType = RCC_CLOCKTYPE_HCLK|RCC_CLOCKTYPE_SYSCLK
                              |RCC_CLOCKTYPE_PCLK1|RCC_CLOCKTYPE_PCLK2;
  RCC_ClkInitStruct.SYSCLKSource = RCC_SYSCLKSOURCE_PLLCLK;
  RCC_ClkInitStruct.AHBCLKDivider = RCC_SYSCLK_DIV1;
  RCC_ClkInitStruct.APB1CLKDivider = RCC_HCLK_DIV1;
  RCC_ClkInitStruct.APB2CLKDivider = RCC_HCLK_DIV1;

  if (HAL_RCC_ClockConfig(&RCC_ClkInitStruct, FLASH_LATENCY_4) != HAL_OK)
  {
    Error_Handler();
  }

  /** Enable MSI Auto calibration
  */
  HAL_RCCEx_EnableMSIPLLMode();
}

void Error_Handler(void)
{
	__disable_irq();
	while (1) {
	}
}
